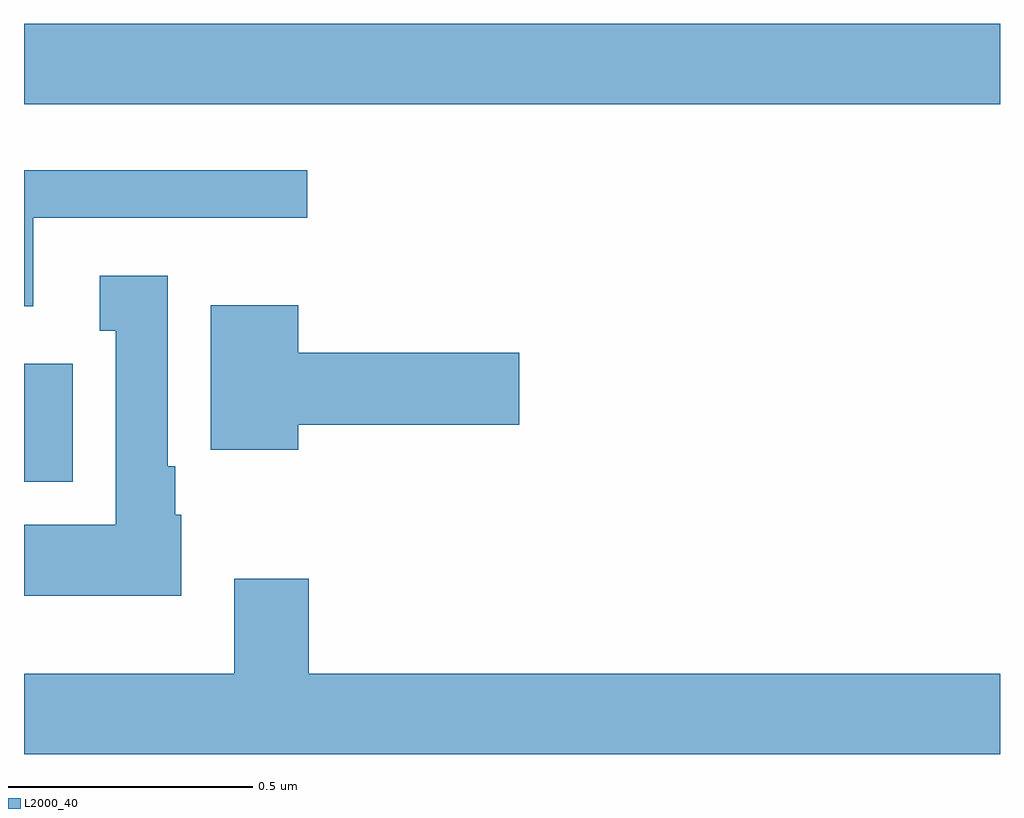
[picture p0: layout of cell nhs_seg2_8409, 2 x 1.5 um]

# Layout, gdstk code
import gdstk
lib = gdstk.Library(unit=1e-6, precision=1e-09)
def R(c, l, rs):  # rectangles x0, y0, x1, y1
    for r in rs: c.add(gdstk.rectangle(r[:2], r[2:], *l))
def P(c, l, *ps):  # polygons
    for p in ps: c.add(gdstk.Polygon(p, *l))
L2000_40 = (2000, 40)

nhs_seg2_8409 = lib.new_cell('nhs_seg2_8409')
R(nhs_seg2_8409, L2000_40, [(216,625.55,216.1,625.792), (216,626.324,218,626.488)])
P(nhs_seg2_8409, L2000_40, [(216.019,626.091),(216.58,626.091),(216.58,626.188),(216,626.188),(216,625.91),(216.019,625.91)],
  [(216.322,625.482),(216.31,625.482),(216.31,625.582),(216.295,625.582),(216.295,625.972),(216.155,625.972),(216.155,625.859),(216.188,625.859),(216.188,625.462),(216,625.462),(216,625.316),(216.322,625.316)],
  [(216.562,625.667),(217.015,625.667),(217.015,625.814),(216.562,625.814),(216.562,625.912),(216.383,625.912),(216.383,625.616),(216.562,625.616)],
  [(218,625.156),(216.584,625.156),(216.584,625.351),(216.431,625.351),(216.431,625.156),(216,625.156),(216,624.992),(218,624.992)])

lib.write_gds('nhs_seg2_8409.gds')
